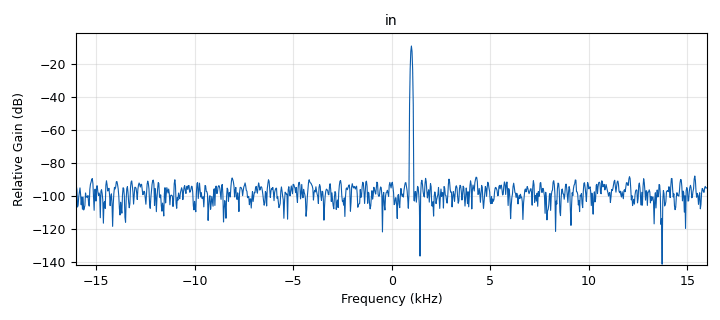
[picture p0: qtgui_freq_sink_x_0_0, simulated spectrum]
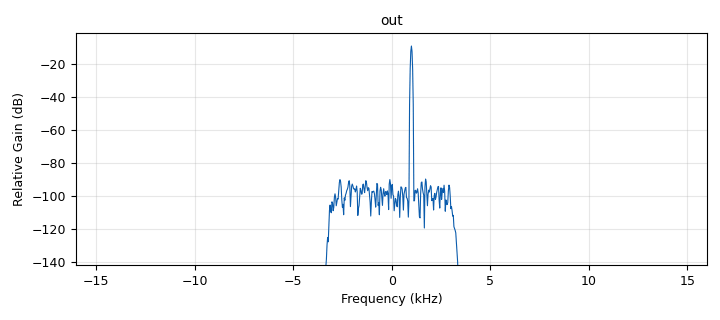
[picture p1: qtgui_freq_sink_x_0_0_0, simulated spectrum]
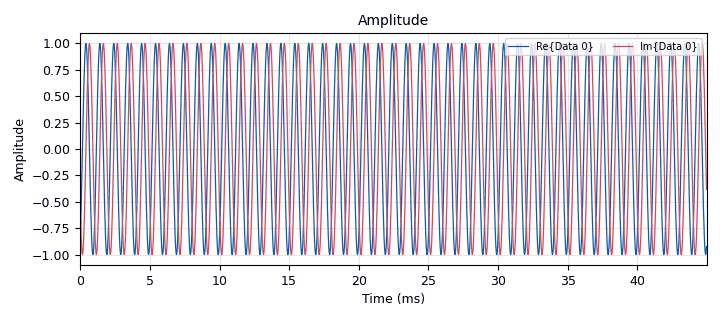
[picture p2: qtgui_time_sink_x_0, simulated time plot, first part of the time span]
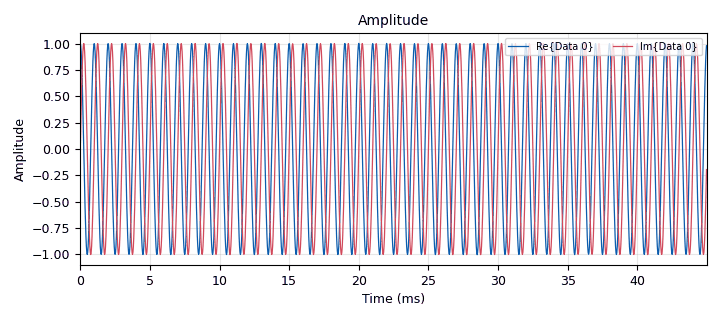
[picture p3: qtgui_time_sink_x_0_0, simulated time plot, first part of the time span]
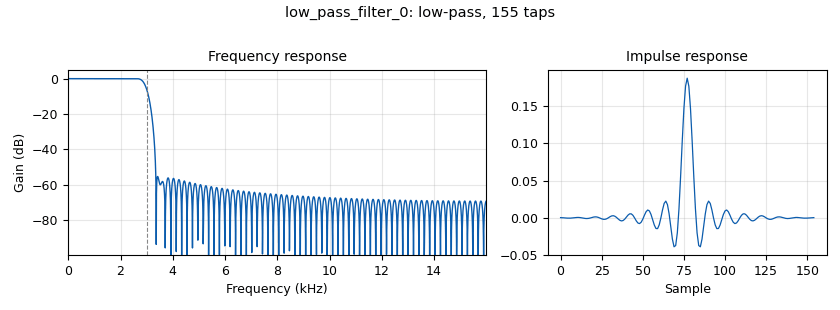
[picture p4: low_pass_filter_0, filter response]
options:
  parameters:
    author: Vazquez Leonardo
    generate_options: qt_gui
    id: bp_filter
    output_language: python
    title: Band pass filter
  states: {}

blocks:
- name: amplitude
  id: variable_qtgui_range
  parameters:
    label: amplitude
    start: '0.001'
    step: '0.01'
    stop: '1'
    value: '0.001'
  states: {}
- name: samp_rate
  id: variable
  parameters:
    value: '32000'
  states: {}
- name: analog_noise_source_x_0
  id: analog_noise_source_x
  parameters:
    amp: amplitude
    noise_type: analog.GR_GAUSSIAN
    seed: '0'
    type: complex
  states: {}
- name: analog_sig_source_x_0
  id: analog_sig_source_x
  parameters:
    amp: '1'
    freq: '1000'
    offset: '0'
    phase: '0'
    samp_rate: samp_rate
    type: complex
    waveform: analog.GR_COS_WAVE
  states: {}
- name: blocks_add_xx_0
  id: blocks_add_xx
  parameters:
    type: complex
  states: {}
- name: blocks_throttle_0
  id: blocks_throttle
  parameters:
    samples_per_second: samp_rate
    type: complex
  states: {}
- name: low_pass_filter_0
  id: low_pass_filter
  parameters:
    cutoff_freq: '3000'
    decim: '1'
    gain: '1'
    samp_rate: samp_rate
    type: fir_filter_ccf
    width: '500'
    win: window.WIN_HAMMING
  states: {}
- name: qtgui_freq_sink_x_0_0
  id: qtgui_freq_sink_x
  parameters:
    autoscale: 'True'
    bw: samp_rate
    fc: '0'
    fftsize: '1024'
    name: '"in"'
    type: complex
  states: {}
- name: qtgui_freq_sink_x_0_0_0
  id: qtgui_freq_sink_x
  parameters:
    autoscale: 'True'
    bw: samp_rate
    fc: '0'
    fftsize: '1024'
    name: '"out"'
    type: complex
  states: {}
- name: qtgui_time_sink_x_0
  id: qtgui_time_sink_x
  parameters:
    autoscale: 'True'
    name: '"Amplitude"'
    size: '4096'
    srate: samp_rate
    type: complex
  states: {}
- name: qtgui_time_sink_x_0_0
  id: qtgui_time_sink_x
  parameters:
    autoscale: 'True'
    name: '"Amplitude"'
    size: '4096'
    srate: samp_rate
    type: complex
  states: {}

connections:
- [analog_noise_source_x_0, '0', blocks_add_xx_0, '0']
- [analog_sig_source_x_0, '0', blocks_add_xx_0, '1']
- [blocks_add_xx_0, '0', low_pass_filter_0, '0']
- [blocks_add_xx_0, '0', qtgui_freq_sink_x_0_0, '0']
- [blocks_add_xx_0, '0', qtgui_time_sink_x_0_0, '0']
- [blocks_throttle_0, '0', qtgui_freq_sink_x_0_0_0, '0']
- [blocks_throttle_0, '0', qtgui_time_sink_x_0, '0']
- [low_pass_filter_0, '0', blocks_throttle_0, '0']

metadata:
  file_format: 1
